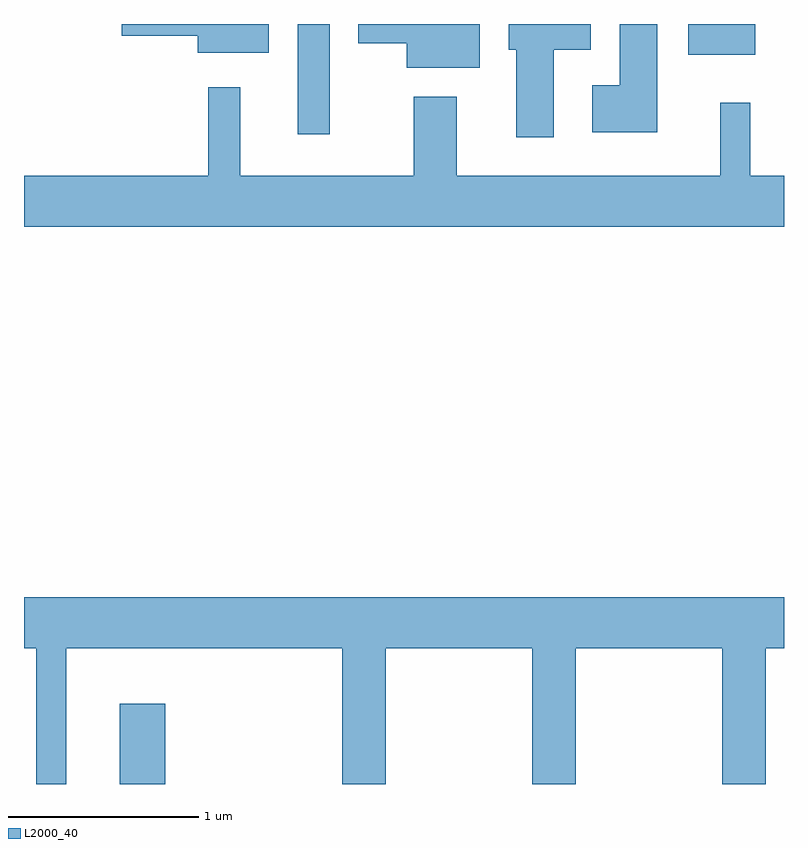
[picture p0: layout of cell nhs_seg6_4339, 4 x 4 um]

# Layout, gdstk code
import gdstk
lib = gdstk.Library(unit=1e-6, precision=1e-09)
def R(c, l, rs):  # rectangles x0, y0, x1, y1
    for r in rs: c.add(gdstk.rectangle(r[:2], r[2:], *l))
def P(c, l, *ps):  # polygons
    for p in ps: c.add(gdstk.Polygon(p, *l))
L2000_40 = (2000, 40)

nhs_seg6_4339 = lib.new_cell('nhs_seg6_4339')
R(nhs_seg6_4339, L2000_40, [(318.116,1598.162,318.354,1598.584), (319.051,1601.583,319.219,1602.162), (321.106,1602.001,321.459,1602.162)])
P(nhs_seg6_4339, L2000_40, [(320.944,1602.162),(320.746,1602.162),(320.746,1601.839),(320.601,1601.839),(320.601,1601.591),(320.944,1601.591)],
  [(318.899,1602.162),(318.126,1602.162),(318.126,1602.101),(318.526,1602.101),(318.526,1602.011),(318.899,1602.011)],
  [(320.009,1602.162),(319.371,1602.162),(319.371,1602.061),(319.626,1602.061),(319.626,1601.931),(320.009,1601.931)],
  [(320.399,1602.026),(320.594,1602.026),(320.594,1602.162),(320.161,1602.162),(320.161,1602.026),(320.201,1602.026),(320.201,1601.566),(320.399,1601.566)],
  [(321.611,1601.364),(321.434,1601.364),(321.434,1601.748),(321.276,1601.748),(321.276,1601.364),(319.889,1601.364),(319.889,1601.779),(319.661,1601.779),(319.661,1601.364),(318.749,1601.364),(318.749,1601.828),(318.581,1601.828),(318.581,1601.364),(317.611,1601.364),(317.611,1601.096),(321.611,1601.096)],
  [(317.834,1598.876),(319.286,1598.876),(319.286,1598.162),(319.514,1598.162),(319.514,1598.876),(320.286,1598.876),(320.286,1598.162),(320.514,1598.162),(320.514,1598.876),(321.286,1598.876),(321.286,1598.162),(321.514,1598.162),(321.514,1598.876),(321.611,1598.876),(321.611,1599.144),(317.611,1599.144),(317.611,1598.876),(317.676,1598.876),(317.676,1598.162),(317.834,1598.162)])

lib.write_gds('nhs_seg6_4339.gds')
